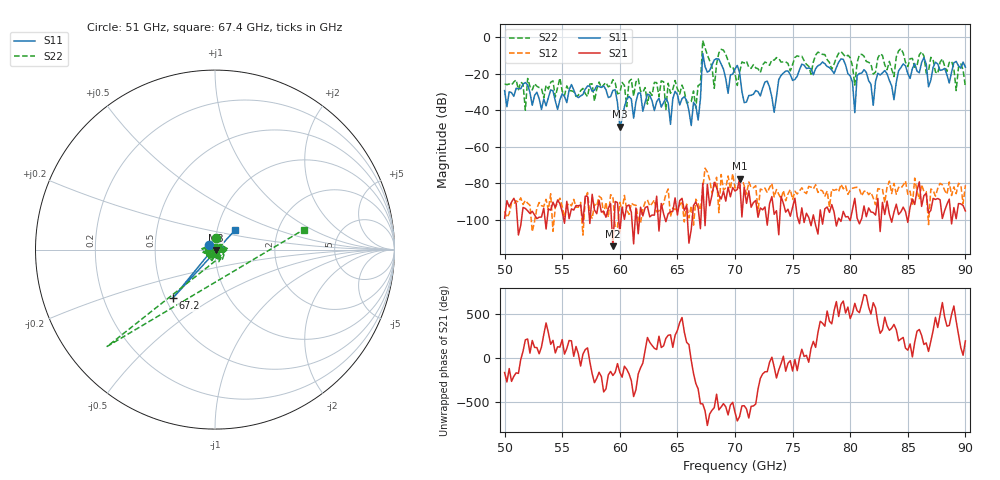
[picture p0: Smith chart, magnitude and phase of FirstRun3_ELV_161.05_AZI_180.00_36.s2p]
! 11/24/2026 3:42:53 PM
! C:\ANRITSUVNA\TEMP\TEMP.S2P
! CHANNEL.1
! TR.MEASUREMENT
! RAW.DATA
# HZ S RI R 50.0
! FREQ.HZ  S11RE  S11IM  S21RE  S21IM  S12RE  S12IM  S22RE  S22IM
!; PortSelection: Port_12
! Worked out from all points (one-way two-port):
!   201 points, 50 GHz to 90 GHz, reference 50 ohm
!   highest |S21| = -77.34 dB at 70.4 GHz (marker M1); lowest = -114.3 dB at 59.4 GHz (marker M2)
!   lowest |S11| = -49.0 dB at 60 GHz (marker M3), VSWR 1.01, Z = 50.3 - j0.167 ohm
!   |S11| at or under -10 dB: start of sweep to 67.19 GHz; 67.23 GHz to end of sweep
!   |S22| runs from -40.0 to -1.9 dB; largest |S21 - S12| = 0.00026
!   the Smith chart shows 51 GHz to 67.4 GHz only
!   S11 on the Smith chart (normalised r, x): 51 GHz: 0.94, +0.05; 67.2 GHz: 0.54, -0.34; 67.4 GHz: 1.22, +0.27
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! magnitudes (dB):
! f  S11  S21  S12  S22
! 50 GHz  -29.3  -99.0  -95.2  -25.6
! 51 GHz  -28.0  -90.9  -89.5  -23.4
! 51.8 GHz  -24.9  -93.7  -89.3  -40.0
! 56.8 GHz  -31.4  -101.2  -108.3  -28.1
! 59.4 GHz  -29.2  -114.3  -86.8  -23.3
! 60 GHz  -49.0  -107.2  -90.3  -30.6
! 63.4 GHz  -33.4  -106.0  -95.1  -32.6
! 66.8 GHz  -45.4  -93.4  -91.1  -26.5
! 67.2 GHz  -8.9  -79.9  -83.3  -1.9
! 67.4 GHz  -16.1  -103.1  -71.6  -5.9
! 68.2 GHz  -12.5  -79.4  -82.2  -28.0
! 68.8 GHz  -14.8  -88.5  -75.1  -6.7
! 70 GHz  -17.4  -84.1  -82.5  -19.9
! 70.4 GHz  -19.5  -77.3  -82.7  -19.3
! 73.4 GHz  -41.2  -96.9  -87.4  -12.6
! 74.2 GHz  -19.7  -90.9  -83.9  -13.5
! 76.8 GHz  -20.6  -97.2  -83.0  -13.6
! 79.4 GHz  -12.2  -95.3  -82.9  -9.4
! 80.4 GHz  -41.3  -88.1  -82.2  -26.2
! 80.6 GHz  -21.0  -99.0  -82.1  -14.0
! 83.4 GHz  -23.7  -96.8  -78.7  -13.3
! 90 GHz  -16.5  -95.0  -81.1  -27.3
